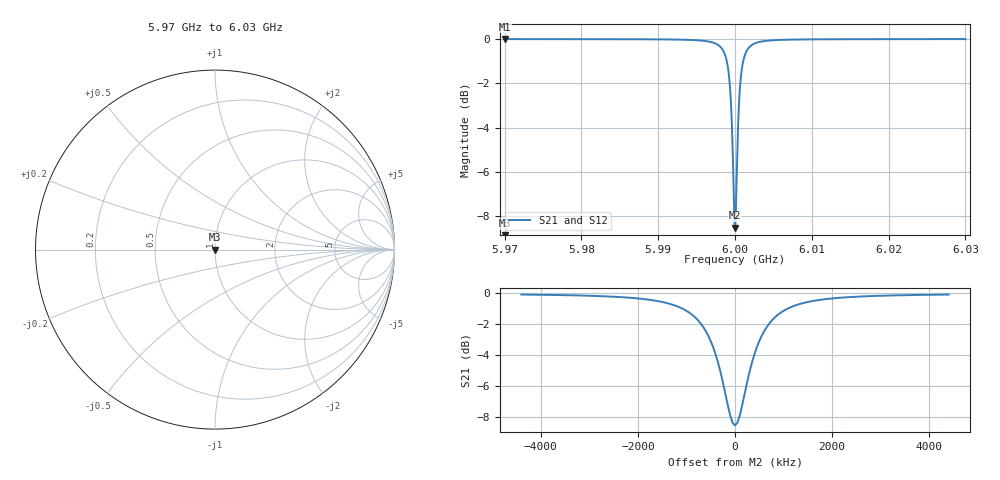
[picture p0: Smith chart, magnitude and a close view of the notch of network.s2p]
! QResAudit analytic synthetic quarter-wave CPW demo
! Port[1] = input
! Port[2] = output
# HZ S RI R 50
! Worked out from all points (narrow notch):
!   1201 points, 5.97 GHz to 6.03 GHz, reference 50 ohm
!   highest |S21| = 0.00 dB at 5.97 GHz (marker M1); lowest = -8.5 dB at 6 GHz (marker M2)
!   notch at M2: 8.5 dB deep, 736 kHz wide at half that depth
!   lowest |S11| = - dB at 5.97 GHz (marker M3), VSWR 1.00, Z = 50 + j0 ohm
!   |S11| at or under -10 dB: start of sweep to end of sweep
!   |S22| runs from - to - dB; largest |S21 - S12| = 0
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5.97e9  0 0  0.9998 -0.0125  0.9998 -0.0125  0 0
5.98e9  0 0  0.9994 -0.0187  0.9994 -0.0187  0 0
5.99e9  0 0  0.9978 -0.0374  0.9978 -0.0374  0 0
5.9955e9  0 0  0.9891 -0.0819  0.9891 -0.0819  0 0
5.9981e9  0 0  0.9433 -0.1795  0.9433 -0.1795  0 0
5.9989e9  0 0  0.8567 -0.2627  0.8567 -0.2627  0 0
5.99915e9  0 0  0.7921 -0.2945  0.7921 -0.2945  0 0
5.9994e9  0 0  0.6875 -0.3125  0.6875 -0.3125  0 0
5.9997e9  0 0  0.5 -0.25  0.5 -0.25  0 0
5.99985e9  0 0  0.4118 -0.1471  0.4118 -0.1471  0 0
6e9  0 0  0.375 0  0.375 0  0 0
6.00015e9  0 0  0.4118 0.1471  0.4118 0.1471  0 0
6.0003e9  0 0  0.5 0.25  0.5 0.25  0 0
6.0006e9  0 0  0.6875 0.3125  0.6875 0.3125  0 0
6.00085e9  0 0  0.7921 0.2945  0.7921 0.2945  0 0
6.0011e9  0 0  0.8567 0.2627  0.8567 0.2627  0 0
6.0019e9  0 0  0.9433 0.1795  0.9433 0.1795  0 0
6.00295e9  0 0  0.9752 0.1221  0.9752 0.1221  0 0
6.0045e9  0 0  0.9891 0.0819  0.9891 0.0819  0 0
6.01e9  0 0  0.9978 0.0374  0.9978 0.0374  0 0
6.02e9  0 0  0.9994 0.0187  0.9994 0.0187  0 0
6.03e9  0 0  0.9998 0.0125  0.9998 0.0125  0 0
